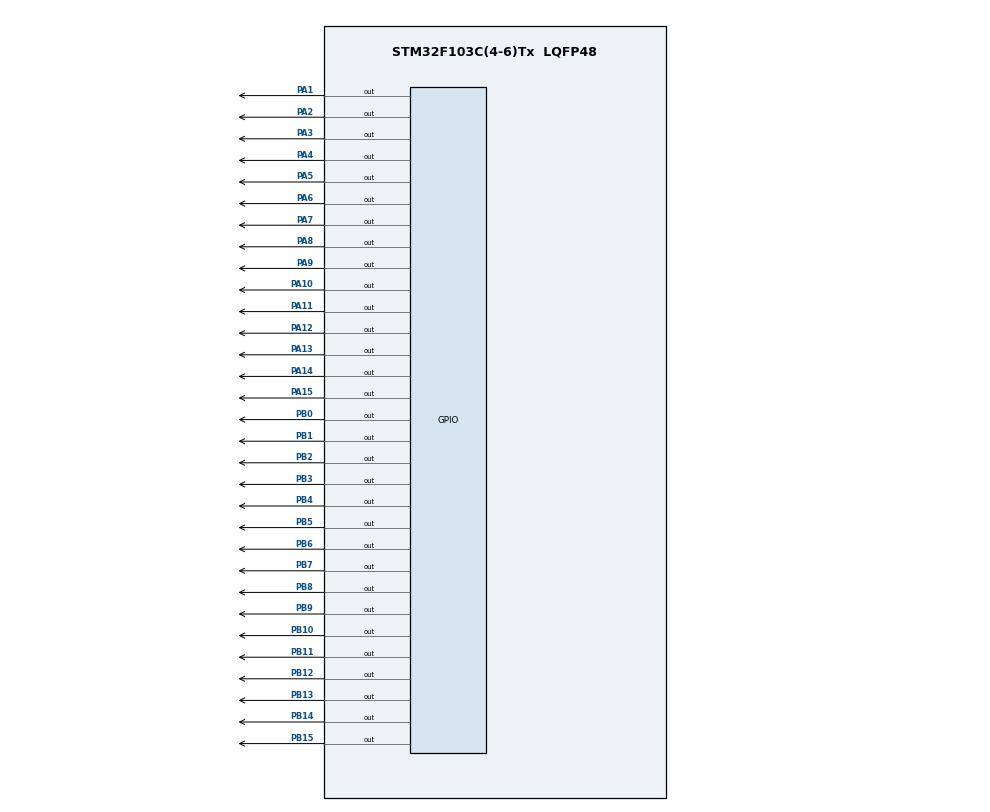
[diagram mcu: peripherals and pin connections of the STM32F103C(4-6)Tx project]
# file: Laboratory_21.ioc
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Mcu.Family=STM32F1
Mcu.Name=STM32F103C(4-6)Tx
Mcu.Package=LQFP48
NVIC.PriorityGroup=NVIC_PRIORITYGROUP_4
NVIC.TIM1_UP_IRQn=true\:2\:0\:true\:false\:true\:true\:true
PA1.Signal=GPIO_Output
PA10.Signal=GPIO_Output
PA11.Signal=GPIO_Output
PA12.Signal=GPIO_Output
PA13.Signal=GPIO_Output
PA14.Signal=GPIO_Output
PA15.Signal=GPIO_Output
PA2.Signal=GPIO_Output
PA3.Signal=GPIO_Output
PA4.Signal=GPIO_Output
PA5.Signal=GPIO_Output
PA6.Signal=GPIO_Output
PA7.Signal=GPIO_Output
PA8.Signal=GPIO_Output
PA9.Signal=GPIO_Output
PB0.Signal=GPIO_Output
PB1.Signal=GPIO_Output
PB10.Signal=GPIO_Output
PB11.Signal=GPIO_Output
PB12.Signal=GPIO_Output
PB13.Signal=GPIO_Output
PB14.Signal=GPIO_Output
PB15.Signal=GPIO_Output
PB2.Signal=GPIO_Output
PB3.Signal=GPIO_Output
PB4.Signal=GPIO_Output
PB5.Signal=GPIO_Output
PB6.Signal=GPIO_Output
PB7.Signal=GPIO_Output
PB8.Signal=GPIO_Output
PB9.Signal=GPIO_Output
ProjectManager.HeapSize=0x200
ProjectManager.StackSize=0x400
ProjectManager.TargetToolchain=STM32CubeIDE
RCC.APB1Freq_Value=8000000
RCC.APB2Freq_Value=8000000
TIM1.Period=9
TIM1.Prescaler=7999
VP_SYS_VS_ND.Mode=No_Debug
VP_TIM1_VS_ClockSourceINT.Mode=Internal
board=custom

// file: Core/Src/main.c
/* USER CODE BEGIN Header */
/**
  ******************************************************************************
  * @file           : main.c
  * @brief          : Main program body
  ******************************************************************************
  * @attention
  *
  * <h2><center>&copy; Copyright (c) 2026 STMicroelectronics.
  * All rights reserved.</center></h2>
  *
  * This software component is licensed by ST under BSD 3-Clause license,
  * the "License"; You may not use this file except in compliance with the
  * License. You may obtain a copy of the License at:
  *                        opensource.org/licenses/BSD-3-Clause
  *
  ******************************************************************************
  */
/* USER CODE END Header */

#include "main.h"

/* USER CODE BEGIN Includes */
#include "LED7.h"
/* USER CODE END Includes */

TIM_HandleTypeDef htim1;

void SystemClock_Config(void);
static void MX_GPIO_Init(void);
static void MX_TIM1_Init(void);

/* USER CODE BEGIN 0 */
uint8_t num = 0 ;
uint8_t flag = 0b00 ;

#define MAX_LED  4
int led_buffer[MAX_LED]; //= {1,2,3,4} ;
int id =0 ;

int hour = 15, minute = 10, second = 0;
int timer_counter = 0;
void HAL_TIM_PeriodElapsedCallback(TIM_HandleTypeDef *htim)
{
/*
	if(htim ->Instance == htim1.Instance){
		HAL_GPIO_WritePin(GPIOA, GPIO_PIN_6 | GPIO_PIN_7, 1);
		HAL_GPIO_TogglePin(GPIOA, GPIO_PIN_5) ;
	if(flag ==0 ){
		LED7_Display(num) ;
		HAL_GPIO_WritePin(GPIOA,GPIO_PIN_6, 0) ;
		flag =1 ;
	}
	else {
		LED7_Display(num) ;
		HAL_GPIO_WritePin(GPIOA,GPIO_PIN_7, 0) ;
			 flag =0 ;
	}
	}
*/

	// excercise 1
/*
	if(htim->Instance == htim1.Instance){
		HAL_GPIO_TogglePin(GPIOA, GPIO_PIN_4) ;
		if(flag == 0b00){

				HAL_GPIO_WritePin(GPIOA,GPIO_PIN_7, 1) ;
				HAL_GPIO_WritePin(GPIOA,GPIO_PIN_8, 1) ;
					HAL_GPIO_WritePin(GPIOA,GPIO_PIN_9, 1) ;
					HAL_GPIO_WritePin(GPIOA,GPIO_PIN_6, 0) ;
					LED7_Display(1) ;
					flag = 0b01 ;
		}else if (flag == 0b01){
			HAL_GPIO_WritePin(GPIOA,GPIO_PIN_6, 1) ;
			HAL_GPIO_WritePin(GPIOA,GPIO_PIN_7, 0) ;
			LED7_Display(2) ;
			flag = 0b10 ;
		}
		else if( flag == 0b10){
			HAL_GPIO_WritePin(GPIOA,GPIO_PIN_7, 1) ;
			HAL_GPIO_WritePin(GPIOA,GPIO_PIN_8, 0) ;
			LED7_Display(3) ;
			flag = 0b11 ;
		}
		else {
			HAL_GPIO_WritePin(GPIOA,GPIO_PIN_8, 1) ;
			HAL_GPIO_WritePin(GPIOA,GPIO_PIN_9, 0) ;
			LED7_Display(0) ;
						flag = 0b00 ;
		}
	}
*/
	 // EXCERCISE 2
/*
	if(htim->Instance == htim1.Instance){
		update7SEG(id) ;
		++id;
		if (id >= MAX_LED) id =0 ;
		HAL_GPIO_WritePin(GPIOA, GPIO_PIN_6,0);
		HAL_GPIO_WritePin(GPIOA, GPIO_PIN_7,1);
		HAL_GPIO_WritePin(GPIOA, GPIO_PIN_8,1);
		HAL_GPIO_WritePin(GPIOA, GPIO_PIN_9,1);
	}
	*/
	// EXCERCISE 3
/*
	if(htim->Instance == htim1.Instance){
		if(id >= MAX_LED) id =0;
			HAL_GPIO_TogglePin(GPIOA, GPIO_PIN_4) ;
			if(flag == 0b00){

					HAL_GPIO_WritePin(GPIOA,GPIO_PIN_7, 1) ;
					HAL_GPIO_WritePin(GPIOA,GPIO_PIN_8, 1) ;
						HAL_GPIO_WritePin(GPIOA,GPIO_PIN_9, 1) ;
						HAL_GPIO_WritePin(GPIOA,GPIO_PIN_6, 0) ;
						update7SEG(id++) ;
						flag = 0b01 ;
			}else if (flag == 0b01){
				HAL_GPIO_WritePin(GPIOA,GPIO_PIN_6, 1) ;
				HAL_GPIO_WritePin(GPIOA,GPIO_PIN_7, 0) ;
				update7SEG(id++) ;
				flag = 0b10 ;
			}
			else if( flag == 0b10){
				HAL_GPIO_WritePin(GPIOA,GPIO_PIN_7, 1) ;
				HAL_GPIO_WritePin(GPIOA,GPIO_PIN_8, 0) ;
				update7SEG(id++) ;
				flag = 0b11 ;
			}
			else {
				HAL_GPIO_WritePin(GPIOA,GPIO_PIN_8, 1) ;
				HAL_GPIO_WritePin(GPIOA,GPIO_PIN_9, 0) ;
				update7SEG(id++) ;
							flag = 0b00 ;
			}
		}
		//excercise 4
*/

	if (htim->Instance == htim1.Instance) {
	        HAL_GPIO_WritePin(GPIOA, GPIO_PIN_6 | GPIO_PIN_7 | GPIO_PIN_8 | GPIO_PIN_9, GPIO_PIN_SET);

	        switch (id) {
	            case 0:
	                HAL_GPIO_WritePin(GPIOA, GPIO_PIN_6, GPIO_PIN_RESET);
	                update7SEG(0);
	                break;
	            case 1:
	                HAL_GPIO_WritePin(GPIOA, GPIO_PIN_7, GPIO_PIN_RESET);
	                update7SEG(1);
	                break;
	            case 2:
	                HAL_GPIO_WritePin(GPIOA, GPIO_PIN_8, GPIO_PIN_RESET);
	                update7SEG(2);
	                break;
	            case 3:
	                HAL_GPIO_WritePin(GPIOA, GPIO_PIN_9, GPIO_PIN_RESET);
	                update7SEG(3);
	                break;
	        }

	        id = (id + 1) % MAX_LED;
	        timer_counter++;
	        if (timer_counter >= 4) {
	            timer_counter = 0 ;
	            HAL_GPIO_TogglePin(GPIOA, GPIO_PIN_4);
	            second++;
	            if (second >= 60) {
	                second = 0;
	                minute++;
	                if (minute >= 60) {
	                    minute = 0;
	                    hour++;
	                }
	                if(hour >= 24) hour =0 ;
	            }
	            updateClockBuffer(hour, minute);
	        }
	    }
	    //excercise 5

	// excercise 6
	/*
if(htim->Instance == htim1.Instance){
	timer_run() ;

}
*/
}

int timer0_counter = 0;
int timer0_flag = 0;

int timer1_counter = 0;
int timer1_flag = 0;

int TIMER_CYCLE = 10;
void setTimer0(int duration){
timer0_counter = duration /TIMER_CYCLE;
timer0_flag = 0;
}
void timer_run(){
if(timer0_counter > 0){
timer0_counter--;
if(timer0_counter == 0) timer0_flag = 1;
}
if(timer1_counter > 0){
timer1_counter--;
if(timer1_counter == 0) timer1_flag = 1;
}
}

void update7SEG(int idx){
	// default using en0
	switch(idx){
	case 0: LED7_Display(led_buffer[0]); break ;
	case 1: LED7_Display(led_buffer[1]); break ;
	case 2: LED7_Display(led_buffer[2]); break ;
	case 3: LED7_Display(led_buffer[3]); break ;
	default: break ;
	}
}
void updateClockBuffer(int hour, int minute){
	led_buffer[0] = hour / 10 ;
	led_buffer[1] = hour % 10 ;
	led_buffer[2] = minute / 10 ;
	led_buffer[3] = minute % 10 ;
}
void setTimer1(int duration){
    timer1_counter = duration / TIMER_CYCLE;
    timer1_flag = 0;
}
void display_7_LEDS(){
	 HAL_GPIO_WritePin(GPIOA, GPIO_PIN_6 | GPIO_PIN_7 | GPIO_PIN_8 | GPIO_PIN_9, GPIO_PIN_SET);
				  update7SEG(id) ;
		  switch (id) {
			            case 0:
			                HAL_GPIO_WritePin(GPIOA, GPIO_PIN_6, GPIO_PIN_RESET);
			                break;
			            case 1:
			                HAL_GPIO_WritePin(GPIOA, GPIO_PIN_7, GPIO_PIN_RESET);
			                break;
			            case 2:
			                HAL_GPIO_WritePin(GPIOA, GPIO_PIN_8, GPIO_PIN_RESET);
			                break;
			            case 3:
			                HAL_GPIO_WritePin(GPIOA, GPIO_PIN_9, GPIO_PIN_RESET);
			                break;
			        }
			     id = (id + 1) % MAX_LED;
}
const int MAX_LED_MATRIX = 8;
int index_led_matrix = 0;
uint8_t matrix_buffer[8] = { 0x00, 0x7C, 0x0A, 0x09, 0x09, 0x0A, 0x7C, 0x00 };
static const uint16_t COL_PINS[8] = {
    GPIO_PIN_2, GPIO_PIN_3, GPIO_PIN_10, GPIO_PIN_11,
    GPIO_PIN_12, GPIO_PIN_13, GPIO_PIN_14, GPIO_PIN_15
};
#define COL_MASK (GPIO_PIN_2 | GPIO_PIN_3 | GPIO_PIN_10 | GPIO_PIN_11 | \
                  GPIO_PIN_12 | GPIO_PIN_13 | GPIO_PIN_14 | GPIO_PIN_15)
#define ROW_MASK 0xFF00U   /* PB8..PB15 */

void updateLEDMatrix(int index) {
    HAL_GPIO_WritePin(GPIOA, COL_MASK, GPIO_PIN_SET);
    uint16_t rows = ((uint16_t)((uint8_t)~matrix_buffer[index])) << 8;
    GPIOB->BSRR = (uint32_t)rows | ((uint32_t)(~rows & ROW_MASK) << 16);
    HAL_GPIO_WritePin(GPIOA, COL_PINS[index], GPIO_PIN_RESET);
}

void shift_matrix_left(void) {
    uint8_t temp = matrix_buffer[0];
    for (int i = 0; i < MAX_LED_MATRIX - 1; i++) {
        matrix_buffer[i] = matrix_buffer[i + 1];
    }
    matrix_buffer[MAX_LED_MATRIX - 1] = temp;
}
/* USER CODE END 0 */

int main(void)
{

  /* MCU Configuration--------------------------------------------------------*/

  /* Reset of all peripherals, Initializes the Flash interface and the Systick. */
  HAL_Init();

  /* Configure the system clock */
  SystemClock_Config();

  /* Initialize all configured peripherals */
  MX_GPIO_Init();
  MX_TIM1_Init();
  /* USER CODE BEGIN 2 */
  HAL_TIM_Base_Start_IT(&htim1);
  LED7_Init() ;
 updateClockBuffer(hour, minute) ;
  setTimer0(10) ;
  setTimer1(500) ;
  /* USER CODE END 2 */

  /* Infinite loop */
  /* USER CODE BEGIN WHILE */
  while (1)
  {
/*
	  second++;
	     if (second >= 60){
	         second = 0;
	         minute++;
	     }
	     if(minute >= 60){
	         minute = 0;
	         hour++;
	     }
	     if(hour >=24){
	         hour = 0;
	     }
	     updateClockBuffer(hour, minute);
	     display_7_LEDS();
	     HAL_Delay(1000);
	     */
	  // EXCECISE 1
/*
	  HAL_Delay(500);
	  num = (num + 1 ) % 10;
*/
    /* USER CODE END WHILE */

    /* USER CODE BEGIN 3 */
	  // excercise 6
	  // excercise 8
	  /*
	  if(timer1_flag ==1){
		  setTimer1(20);
		  display_7_LEDS();
	  }
	  if(timer0_flag ==1 ){
		 setTimer0(1000) ;
		 HAL_GPIO_TogglePin(GPIOA, GPIO_PIN_4) ;
		 second++;
		 if(second >=60){
			second = 0;
			minute++;
		 }
		 if(minute >=60){
			 minute = 0;
			 hour++;
		 }
		 if(hour >= 24) hour =0 ;
	  updateClockBuffer(hour, minute) ;
	  }
	  */
/*
	  if(timer0_flag == 1){
		  timer0_flag =0 ;
	  setTimer0(2) ;
	 updateLEDMatrix(index_led_matrix);
	  index_led_matrix = (index_led_matrix + 1 ) % MAX_LED_MATRIX;
	  }

	if (timer1_flag == 1) {
		timer1_flag =0;
	            setTimer1(500);
	            shift_matrix_left();
	        }
*/
  /* USER CODE END 3 */
}
}

void SystemClock_Config(void)
{
  RCC_OscInitTypeDef RCC_OscInitStruct = {0};
  RCC_ClkInitTypeDef RCC_ClkInitStruct = {0};

  /** Initializes the CPU, AHB and APB busses clocks
  */
  RCC_OscInitStruct.OscillatorType = RCC_OSCILLATORTYPE_HSI;
  RCC_OscInitStruct.HSIState = RCC_HSI_ON;
  RCC_OscInitStruct.HSICalibrationValue = RCC_HSICALIBRATION_DEFAULT;
  RCC_OscInitStruct.PLL.PLLState = RCC_PLL_NONE;
  if (HAL_RCC_OscConfig(&RCC_OscInitStruct) != HAL_OK)
  {
    Error_Handler();
  }
  /** Initializes the CPU, AHB and APB busses clocks
  */
  RCC_ClkInitStruct.ClockType = RCC_CLOCKTYPE_HCLK|RCC_CLOCKTYPE_SYSCLK
                              |RCC_CLOCKTYPE_PCLK1|RCC_CLOCKTYPE_PCLK2;
  RCC_ClkInitStruct.SYSCLKSource = RCC_SYSCLKSOURCE_HSI;
  RCC_ClkInitStruct.AHBCLKDivider = RCC_SYSCLK_DIV1;
  RCC_ClkInitStruct.APB1CLKDivider = RCC_HCLK_DIV1;
  RCC_ClkInitStruct.APB2CLKDivider = RCC_HCLK_DIV1;

  if (HAL_RCC_ClockConfig(&RCC_ClkInitStruct, FLASH_LATENCY_0) != HAL_OK)
  {
    Error_Handler();
  }
}

static void MX_TIM1_Init(void)
{

  TIM_ClockConfigTypeDef sClockSourceConfig = {0};
  TIM_MasterConfigTypeDef sMasterConfig = {0};

  htim1.Instance = TIM1;
  htim1.Init.Prescaler = 7999; // 799
  htim1.Init.CounterMode = TIM_COUNTERMODE_UP;
  htim1.Init.Period = 249;
  htim1.Init.ClockDivision = TIM_CLOCKDIVISION_DIV1;
  htim1.Init.RepetitionCounter = 0;
  htim1.Init.AutoReloadPreload = TIM_AUTORELOAD_PRELOAD_DISABLE;
  if (HAL_TIM_Base_Init(&htim1) != HAL_OK)
  {
    Error_Handler();
  }
  sClockSourceConfig.ClockSource = TIM_CLOCKSOURCE_INTERNAL;
  if (HAL_TIM_ConfigClockSource(&htim1, &sClockSourceConfig) != HAL_OK)
  {
    Error_Handler();
  }
  sMasterConfig.MasterOutputTrigger = TIM_TRGO_RESET;
  sMasterConfig.MasterSlaveMode = TIM_MASTERSLAVEMODE_DISABLE;
  if (HAL_TIMEx_MasterConfigSynchronization(&htim1, &sMasterConfig) != HAL_OK)
  {
    Error_Handler();
  }

}

static void MX_GPIO_Init(void)
{
  GPIO_InitTypeDef GPIO_InitStruct = {0};

  /* GPIO Ports Clock Enable */
  __HAL_RCC_GPIOA_CLK_ENABLE();
  __HAL_RCC_GPIOB_CLK_ENABLE();
  /*Configure GPIO pin Output Level */
  HAL_GPIO_WritePin(GPIOA, GPIO_PIN_1|GPIO_PIN_2|GPIO_PIN_3|GPIO_PIN_4
                          |GPIO_PIN_5|GPIO_PIN_6|GPIO_PIN_7|GPIO_PIN_8
                          |GPIO_PIN_9|GPIO_PIN_10|GPIO_PIN_11|GPIO_PIN_12
                          |GPIO_PIN_13|GPIO_PIN_14|GPIO_PIN_15, GPIO_PIN_RESET);

  /*Configure GPIO pin Output Level */
  HAL_GPIO_WritePin(GPIOB, GPIO_PIN_0|GPIO_PIN_1|GPIO_PIN_2|GPIO_PIN_10
                          |GPIO_PIN_11|GPIO_PIN_12|GPIO_PIN_13|GPIO_PIN_14
                          |GPIO_PIN_15|GPIO_PIN_3|GPIO_PIN_4|GPIO_PIN_5
                          |GPIO_PIN_6|GPIO_PIN_7|GPIO_PIN_8|GPIO_PIN_9, GPIO_PIN_RESET);

  /*Configure GPIO pins : PA1 PA2 PA3 PA4
                           PA5 PA6 PA7 PA8
                           PA9 PA10 PA11 PA12
                           PA13 PA14 PA15 */
  GPIO_InitStruct.Pin = GPIO_PIN_1|GPIO_PIN_2|GPIO_PIN_3|GPIO_PIN_4
                          |GPIO_PIN_5|GPIO_PIN_6|GPIO_PIN_7|GPIO_PIN_8
                          |GPIO_PIN_9|GPIO_PIN_10|GPIO_PIN_11|GPIO_PIN_12
                          |GPIO_PIN_13|GPIO_PIN_14|GPIO_PIN_15;
  GPIO_InitStruct.Mode = GPIO_MODE_OUTPUT_PP;
  GPIO_InitStruct.Pull = GPIO_NOPULL;
  GPIO_InitStruct.Speed = GPIO_SPEED_FREQ_LOW;
  HAL_GPIO_Init(GPIOA, &GPIO_InitStruct);

  /*Configure GPIO pins : PB0 PB1 PB2 PB10
                           PB11 PB12 PB13 PB14
                           PB15 PB3 PB4 PB5
                           PB6 PB7 PB8 PB9 */
  GPIO_InitStruct.Pin = GPIO_PIN_0|GPIO_PIN_1|GPIO_PIN_2|GPIO_PIN_10
                          |GPIO_PIN_11|GPIO_PIN_12|GPIO_PIN_13|GPIO_PIN_14
                          |GPIO_PIN_15|GPIO_PIN_3|GPIO_PIN_4|GPIO_PIN_5
                          |GPIO_PIN_6|GPIO_PIN_7|GPIO_PIN_8|GPIO_PIN_9;
  GPIO_InitStruct.Mode = GPIO_MODE_OUTPUT_PP;
  GPIO_InitStruct.Pull = GPIO_NOPULL;
  GPIO_InitStruct.Speed = GPIO_SPEED_FREQ_LOW;
  HAL_GPIO_Init(GPIOB, &GPIO_InitStruct);

}

void Error_Handler(void)
{
}

/************************ (C) COPYRIGHT STMicroelectronics *****END OF FILE****/
